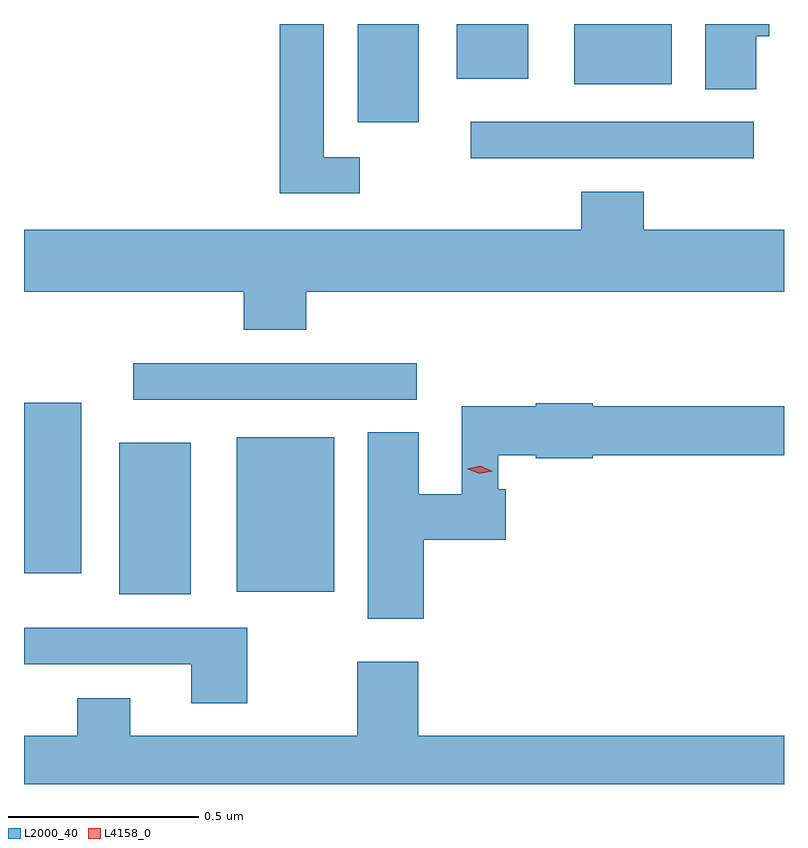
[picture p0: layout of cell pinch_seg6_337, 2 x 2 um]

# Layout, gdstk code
import gdstk
lib = gdstk.Library(unit=1e-6, precision=1e-09)
def R(c, l, rs):  # rectangles x0, y0, x1, y1
    for r in rs: c.add(gdstk.rectangle(r[:2], r[2:], *l))
def P(c, l, *ps):  # polygons
    for p in ps: c.add(gdstk.Polygon(p, *l))
L2000_40 = (2000, 40)
L4158_0 = (4158, 0)

pinch_seg6_337 = lib.new_cell('pinch_seg6_337')
R(pinch_seg6_337, L2000_40, [(735.68,986.501,735.868,986.899), (735.989,986.507,736.246,986.914), (735.429,986.556,735.58,987.004), (735.717,987.012,736.462,987.108), (736.605,987.648,737.35,987.744), (736.307,987.743,736.468,988.001), (736.877,987.842,737.134,988.001), (736.568,987.857,736.756,988.001)])
P(pinch_seg6_337, L2000_40, [(736.312,987.651),(736.218,987.651),(736.218,988.001),(736.102,988.001),(736.102,987.555),(736.312,987.555)],
  [(737.356,987.969),(737.39,987.969),(737.39,988.001),(737.222,988.001),(737.222,987.829),(737.356,987.829)],
  [(736.172,987.296),(737.429,987.296),(737.429,987.46),(737.06,987.46),(737.06,987.559),(736.895,987.559),(736.895,987.46),(735.429,987.46),(735.429,987.296),(736.007,987.296),(736.007,987.197),(736.172,987.197)],
  [(736.481,986.644),(736.697,986.644),(736.697,986.777),(736.677,986.777),(736.677,986.866),(736.776,986.866),(736.776,986.858),(736.926,986.858),(736.926,986.866),(737.429,986.866),(737.429,986.995),(736.926,986.995),(736.926,987.003),(736.776,987.003),(736.776,986.995),(736.581,986.995),(736.581,986.763),(736.468,986.763),(736.468,986.927),(736.334,986.927),(736.334,986.436),(736.481,986.436)],
  [(736.017,986.412),(735.429,986.412),(735.429,986.316),(735.869,986.316),(735.869,986.214),(736.017,986.214)],
  [(737.429,986.128),(736.466,986.128),(736.466,986.323),(736.306,986.323),(736.306,986.128),(735.709,986.128),(735.709,986.227),(735.569,986.227),(735.569,986.128),(735.429,986.128),(735.429,986.001),(737.429,986.001)])
P(pinch_seg6_337, L4158_0, [(736.627,986.818),(736.594,986.831),(736.593,986.831),(736.594,986.831),(736.629,986.838),(736.662,986.824),(736.662,986.824),(736.662,986.824)])

lib.write_gds('pinch_seg6_337.gds')
